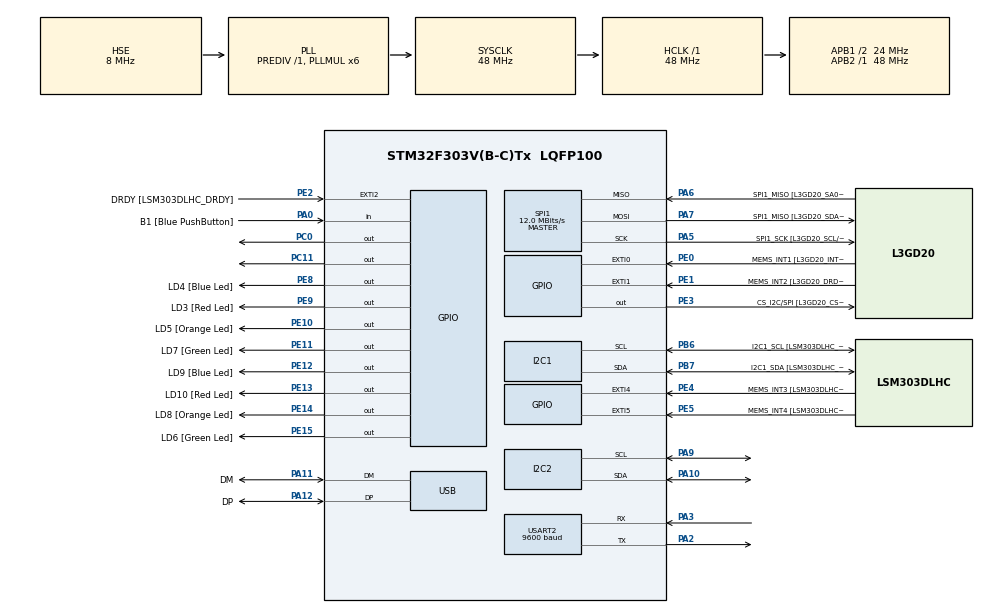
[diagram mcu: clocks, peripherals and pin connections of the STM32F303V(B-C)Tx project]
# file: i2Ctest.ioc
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I2C1.Timing-I2C=0x2000090E
I2C2.I2C_Fall_Time=10
I2C2.I2C_Rise_Time=100
I2C2.Timing=0x00201D2B
Mcu.Family=STM32F3
Mcu.Name=STM32F303V(B-C)Tx
Mcu.Package=LQFP100
NVIC.PriorityGroup=NVIC_PRIORITYGROUP_0
NVIC.USART2_IRQn=true\:0\:0\:false\:false\:true\:true\:true\:true
PA0.GPIO_Label=B1 [Blue PushButton]
PA0.Signal=GPIO_Input
PA10.Mode=I2C
PA10.Signal=I2C2_SDA
PA11.GPIO_Label=DM
PA11.Mode=Device
PA11.Signal=USB_DM
PA12.GPIO_Label=DP
PA12.Mode=Device
PA12.Signal=USB_DP
PA13.GPIO_Label=SWDIO
PA13.Mode=Serial_Wire
PA13.Signal=SYS_JTMS-SWDIO
PA14.GPIO_Label=SWCLK
PA14.Mode=Serial_Wire
PA14.Signal=SYS_JTCK-SWCLK
PA2.Mode=Asynchronous
PA2.Signal=USART2_TX
PA3.Mode=Asynchronous
PA3.Signal=USART2_RX
PA5.GPIO_Label=SPI1_SCK [L3GD20_SCL/SPC]
PA5.Mode=Full_Duplex_Master
PA5.Signal=SPI1_SCK
PA6.GPIO_Label=SPI1_MISO [L3GD20_SA0/SDO]
PA6.Mode=Full_Duplex_Master
PA6.Signal=SPI1_MISO
PA7.GPIO_Label=SPI1_MISO [L3GD20_SDA/SDI/SDO]
PA7.Mode=Full_Duplex_Master
PA7.Signal=SPI1_MOSI
PA9.Mode=I2C
PA9.Signal=I2C2_SCL
PB3.GPIO_Label=SWO
PB3.Signal=SYS_JTDO-TRACESWO
PB6.GPIO_Label=I2C1_SCL [LSM303DLHC_SCL]
PB6.GPIO_Pu=GPIO_PULLUP
PB6.Mode=I2C
PB6.Signal=I2C1_SCL
PB7.GPIO_Label=I2C1_SDA [LSM303DLHC_SDA]
PB7.GPIO_Pu=GPIO_PULLUP
PB7.Mode=I2C
PB7.Signal=I2C1_SDA
PC0.Signal=GPIO_Output
PC11.Signal=GPIO_Output
PC14-OSC32_IN.GPIO_Label=OSC32_IN
PC14-OSC32_IN.Signal=RCC_OSC32_IN
PC15-OSC32_OUT.GPIO_Label=OSC32_OUT
PC15-OSC32_OUT.Signal=RCC_OSC32_OUT
PE0.GPIO_Label=MEMS_INT1 [L3GD20_INT1]
PE0.GPIO_ModeDefaultEXTI=GPIO_MODE_EVT_RISING
PE0.Signal=GPXTI0
PE1.GPIO_Label=MEMS_INT2 [L3GD20_DRDY/INT2]
PE1.GPIO_ModeDefaultEXTI=GPIO_MODE_EVT_RISING
PE1.Signal=GPXTI1
PE10.GPIO_Label=LD5 [Orange Led]
PE10.Signal=GPIO_Output
PE11.GPIO_Label=LD7 [Green Led]
PE11.Signal=GPIO_Output
PE12.GPIO_Label=LD9 [Blue Led]
PE12.Signal=GPIO_Output
PE13.GPIO_Label=LD10 [Red Led]
PE13.Signal=GPIO_Output
PE14.GPIO_Label=LD8 [Orange Led]
PE14.Signal=GPIO_Output
PE15.GPIO_Label=LD6 [Green Led]
PE15.Signal=GPIO_Output
PE2.GPIO_Label=DRDY [LSM303DLHC_DRDY]
PE2.GPIO_ModeDefaultEXTI=GPIO_MODE_EVT_RISING
PE2.Signal=GPXTI2
PE3.GPIO_Label=CS_I2C/SPI [L3GD20_CS_I2C/SPI]
PE3.Signal=GPIO_Output
PE4.GPIO_Label=MEMS_INT3 [LSM303DLHC_INT1]
PE4.GPIO_ModeDefaultEXTI=GPIO_MODE_EVT_RISING
PE4.Signal=GPXTI4
PE5.GPIO_Label=MEMS_INT4 [LSM303DLHC_INT2]
PE5.GPIO_ModeDefaultEXTI=GPIO_MODE_EVT_RISING
PE5.Signal=GPXTI5
PE8.GPIO_Label=LD4 [Blue Led]
PE8.Signal=GPIO_Output
PE9.GPIO_Label=LD3 [Red Led]
PE9.Signal=GPIO_Output
PF0-OSC_IN.GPIO_Label=OSC_IN
PF0-OSC_IN.Mode=HSE-External-Clock-Source
PF0-OSC_IN.Signal=RCC_OSC_IN
PF1-OSC_OUT.GPIO_Label=OSC_OUT
PF1-OSC_OUT.Signal=RCC_OSC_OUT
ProjectManager.HeapSize=0x200
ProjectManager.StackSize=0x400
ProjectManager.TargetToolchain=STM32CubeIDE
RCC.AHBFreq_Value=48000000
RCC.APB1CLKDivider=RCC_HCLK_DIV2
RCC.APB1Freq_Value=24000000
RCC.APB1TimFreq_Value=48000000
RCC.APB2Freq_Value=48000000
RCC.APB2TimFreq_Value=48000000
RCC.CortexFreq_Value=48000000
RCC.HCLKFreq_Value=48000000
RCC.HSE_VALUE=8000000
RCC.HSI_VALUE=8000000
RCC.LSE_VALUE=32768
RCC.PLLMUL=RCC_PLL_MUL6
RCC.SYSCLKFreq_VALUE=48000000
RCC.SYSCLKSourceVirtual=RCC_SYSCLKSOURCE_PLLCLK
RCC.USBFreq_Value=48000000
SPI1.BaudRatePrescaler=SPI_BAUDRATEPRESCALER_4
SPI1.BaudRatePrescaler-Full_Duplex_Master=SPI_BAUDRATEPRESCALER_2
SPI1.CalculateBaudRate=12.0 MBits/s
SPI1.CalculateBaudRate-Full_Duplex_Master=24.0 MBits/s
SPI1.Direction=SPI_DIRECTION_2LINES
SPI1.Mode=SPI_MODE_MASTER
SPI1.Mode-Full_Duplex_Master=SPI_MODE_MASTER
SPI1.VirtualType=VM_MASTER
USART2.BaudRate=9600
USART2.VirtualMode-Asynchronous=VM_ASYNC
board=STM32F3DISCOVERY

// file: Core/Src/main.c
/* USER CODE BEGIN Header */
/**
  ******************************************************************************
  * @file           : main.c
  * @brief          : Main program body
  ******************************************************************************
  * @attention
  *
  * Copyright (c) 2026 STMicroelectronics.
  * All rights reserved.
  *
  * This software is licensed under terms that can be found in the LICENSE file
  * in the root directory of this software component.
  * If no LICENSE file comes with this software, it is provided AS-IS.
  *
  ******************************************************************************
  */
/* USER CODE END Header */
#include "main.h"

/* USER CODE BEGIN Includes */
#include "stm32f3xx_hal.h"
#include <stdio.h>
#include <string.h>
#include "bq25798.h"
#include "charger_manager.h"

/* USER CODE END Includes */

I2C_HandleTypeDef hi2c1;
I2C_HandleTypeDef hi2c2;

SPI_HandleTypeDef hspi1;

UART_HandleTypeDef huart2;

PCD_HandleTypeDef hpcd_USB_FS;

void SystemClock_Config(void);
static void MX_GPIO_Init(void);
static void MX_I2C1_Init(void);
static void MX_SPI1_Init(void);
static void MX_USB_PCD_Init(void);
static void MX_USART2_UART_Init(void);
static void MX_I2C2_Init(void);

int main(void)
{

  /* MCU Configuration--------------------------------------------------------*/

  /* Reset of all peripherals, Initializes the Flash interface and the Systick. */
  HAL_Init();

  /* Configure the system clock */
  SystemClock_Config();

  /* Initialize all configured peripherals */
  MX_GPIO_Init();
  MX_I2C1_Init();
  MX_SPI1_Init();
  MX_USB_PCD_Init();
  MX_USART2_UART_Init();
  MX_I2C2_Init();
  /* USER CODE BEGIN 2 */
#define BQ25798_ADDR  (0x6B << 1)
#define BQ76920_ADDR  (0x18 << 1)

  uint8_t powerdown = 0x00;
  HAL_I2C_Mem_Write(&hi2c2, (0x19 << 1), 0x20, I2C_MEMADD_SIZE_8BIT, &powerdown, 1, 100);
  HAL_I2C_Mem_Write(&hi2c2, (0x1E << 1), 0x20, I2C_MEMADD_SIZE_8BIT, &powerdown, 1, 100);
  HAL_Delay(10);

HAL_Delay(500);
printf("\r\n=== EPS I2C BRING-UP ===\r\n\r\n");

// --- TS1 boot pulse to wake BQ76920 ---
printf("Sending TS1 boot pulse on PC0...\r\n");
HAL_GPIO_WritePin(GPIOC, GPIO_PIN_0, GPIO_PIN_SET);
HAL_Delay(50);
HAL_GPIO_WritePin(GPIOC, GPIO_PIN_0, GPIO_PIN_RESET);
HAL_Delay(100);
printf("Boot pulse done.\r\n");

// --- Probe BQ25798 ---
if (HAL_I2C_IsDeviceReady(&hi2c2, BQ25798_ADDR, 3, 100) == HAL_OK)
    printf("[OK]   BQ25798 found at 0x6B\r\n");
else
    printf("[FAIL] BQ25798 not found\r\n");

// --- Probe BQ76920 ---
if (HAL_I2C_IsDeviceReady(&hi2c2, BQ76920_ADDR, 3, 100) == HAL_OK)
    printf("[OK]   BQ76920 found at 0x08\r\n");
else
    printf("[FAIL] BQ76920 not found — check TS1 wire on PC0\r\n");

// --- Read BQ25798 PART_INFO (reg 0x48, expect 0x98) ---
uint8_t part_info = 0;
if (HAL_I2C_Mem_Read(&hi2c2, BQ25798_ADDR, 0x48,
                      I2C_MEMADD_SIZE_8BIT, &part_info, 1, 100) == HAL_OK)
    printf("BQ25798 PART_INFO = 0x%02X (expect 0x98)\r\n", part_info);
else
    printf("BQ25798 PART_INFO read failed\r\n");

// --- Read BQ76920 SYS_STAT (reg 0x00) ---
uint8_t sys_stat = 0;
if (HAL_I2C_Mem_Read(&hi2c2, BQ76920_ADDR, 0x00,
                      I2C_MEMADD_SIZE_8BIT, &sys_stat, 1, 100) == HAL_OK)
    printf("BQ76920 SYS_STAT = 0x%02X\r\n", sys_stat);
else
    printf("BQ76920 SYS_STAT read failed\r\n");

// --- Full I2C bus scan ---
printf("\r\nScanning I2C bus...\r\n");
for (uint8_t addr = 1; addr < 128; addr++)
{
    if (HAL_I2C_IsDeviceReady(&hi2c2, addr << 1, 1, 10) == HAL_OK)
        printf("  Device found at 0x%02X\r\n", addr);
}
printf("Scan complete\r\n");
printf("\r\n=== DONE ===\r\n");

uint8_t part = 0;
HAL_StatusTypeDef status = HAL_I2C_Mem_Read(
    &hi2c2,
    (0x6B << 1),
    0x48,
    I2C_MEMADD_SIZE_8BIT,
    &part,
    1,
    100
);
printf("PART_INFO status=%d value=0x%02X\r\n", status, part);
if (ChargerManager_Init())
    printf("[OK] Charger configured\r\n");
else
    printf("[FAIL] Charger init failed\r\n");

// Enable ADC continuous mode (REG2E)
uint8_t adc_cfg = 0xC0;  // bit7=ADC_EN, bit6=continuous
BQ25798_Write8(BQ25798_REG_ADC_CONTROL, adc_cfg);

// Enable IBAT ADC measurement (REG15 bit5)
uint8_t reg15 = 0;
BQ25798_Read8(0x15, &reg15);
reg15 |= (1 << 5);
BQ25798_Write8(0x15, reg15);

HAL_Delay(500);

  /* USER CODE END 2 */

  /* Infinite loop */
  while (1)
  {

    /* USER CODE BEGIN 3 */
	  BQ25798_Telemetry telem = {0};

	      if (BQ25798_ReadTelemetry(&telem))
	      {
	    	  printf("VBUS=%d.%02dV  VBAT=%d.%02dV  VSYS=%d.%02dV\r\n",
	    	         (int)telem.vbus_v, (int)(telem.vbus_v * 100) % 100,
	    	         (int)telem.vbat_v, (int)(telem.vbat_v * 100) % 100,
	    	         (int)telem.vsys_v, (int)(telem.vsys_v * 100) % 100);
	          printf("IBUS=%.3fA  IBAT=%.3fA  TDIE=%.1fC\r\n",
	                 telem.ibus_a, telem.ibat_a, telem.die_temp_c);
	          printf("PG=%s  STAT0=0x%02X  STAT1=0x%02X\r\n",
	                 (telem.charger_status_0 & 0x08) ? "OK" : "FAIL",
	                 telem.charger_status_0,
	                 telem.charger_status_1);

	      }
	      else
	      {
	          printf("[FAIL] Telemetry read failed\r\n");
	      }

	      printf("---\r\n");

	      // Try both known BQ76920 I2C addresses
	      uint8_t bms_addr = 0;

	      if (HAL_I2C_IsDeviceReady(&hi2c2, (0x08 << 1), 3, 100) == HAL_OK)
	      {
	          printf("[OK] BQ76920 found at 0x08\r\n");
	          bms_addr = 0x08;
	      }
	      else if (HAL_I2C_IsDeviceReady(&hi2c2, (0x18 << 1), 3, 100) == HAL_OK)
	      {
	          printf("[OK] BQ76920 found at 0x18\r\n");
	          bms_addr = 0x18;
	      }
	      else
	      {
	          printf("[FAIL] BQ76920 not found at either 0x08 or 0x18\r\n");
	          printf("       Check: battery connected? REGOUT voltage present? TS1 boot pulse voltage?\r\n");
	      }
	      HAL_Delay(2000);

  }
  /* USER CODE END 3 */
}

void SystemClock_Config(void)
{
  RCC_OscInitTypeDef RCC_OscInitStruct = {0};
  RCC_ClkInitTypeDef RCC_ClkInitStruct = {0};
  RCC_PeriphCLKInitTypeDef PeriphClkInit = {0};

  /** Initializes the RCC Oscillators according to the specified parameters
  * in the RCC_OscInitTypeDef structure.
  */
  RCC_OscInitStruct.OscillatorType = RCC_OSCILLATORTYPE_HSI|RCC_OSCILLATORTYPE_HSE;
  RCC_OscInitStruct.HSEState = RCC_HSE_BYPASS;
  RCC_OscInitStruct.HSEPredivValue = RCC_HSE_PREDIV_DIV1;
  RCC_OscInitStruct.HSIState = RCC_HSI_ON;
  RCC_OscInitStruct.HSICalibrationValue = RCC_HSICALIBRATION_DEFAULT;
  RCC_OscInitStruct.PLL.PLLState = RCC_PLL_ON;
  RCC_OscInitStruct.PLL.PLLSource = RCC_PLLSOURCE_HSE;
  RCC_OscInitStruct.PLL.PLLMUL = RCC_PLL_MUL6;
  if (HAL_RCC_OscConfig(&RCC_OscInitStruct) != HAL_OK)
  {
    Error_Handler();
  }

  /** Initializes the CPU, AHB and APB buses clocks
  */
  RCC_ClkInitStruct.ClockType = RCC_CLOCKTYPE_HCLK|RCC_CLOCKTYPE_SYSCLK
                              |RCC_CLOCKTYPE_PCLK1|RCC_CLOCKTYPE_PCLK2;
  RCC_ClkInitStruct.SYSCLKSource = RCC_SYSCLKSOURCE_PLLCLK;
  RCC_ClkInitStruct.AHBCLKDivider = RCC_SYSCLK_DIV1;
  RCC_ClkInitStruct.APB1CLKDivider = RCC_HCLK_DIV2;
  RCC_ClkInitStruct.APB2CLKDivider = RCC_HCLK_DIV1;

  if (HAL_RCC_ClockConfig(&RCC_ClkInitStruct, FLASH_LATENCY_1) != HAL_OK)
  {
    Error_Handler();
  }
  PeriphClkInit.PeriphClockSelection = RCC_PERIPHCLK_USB|RCC_PERIPHCLK_USART2
                              |RCC_PERIPHCLK_I2C1|RCC_PERIPHCLK_I2C2;
  PeriphClkInit.Usart2ClockSelection = RCC_USART2CLKSOURCE_PCLK1;
  PeriphClkInit.I2c1ClockSelection = RCC_I2C1CLKSOURCE_HSI;
  PeriphClkInit.I2c2ClockSelection = RCC_I2C2CLKSOURCE_HSI;
  PeriphClkInit.USBClockSelection = RCC_USBCLKSOURCE_PLL;
  if (HAL_RCCEx_PeriphCLKConfig(&PeriphClkInit) != HAL_OK)
  {
    Error_Handler();
  }
}

static void MX_I2C1_Init(void)
{

  hi2c1.Instance = I2C1;
  hi2c1.Init.Timing = 0x2000090E;
  hi2c1.Init.OwnAddress1 = 0;
  hi2c1.Init.AddressingMode = I2C_ADDRESSINGMODE_7BIT;
  hi2c1.Init.DualAddressMode = I2C_DUALADDRESS_DISABLE;
  hi2c1.Init.OwnAddress2 = 0;
  hi2c1.Init.OwnAddress2Masks = I2C_OA2_NOMASK;
  hi2c1.Init.GeneralCallMode = I2C_GENERALCALL_DISABLE;
  hi2c1.Init.NoStretchMode = I2C_NOSTRETCH_DISABLE;
  if (HAL_I2C_Init(&hi2c1) != HAL_OK)
  {
    Error_Handler();
  }

  /** Configure Analogue filter
  */
  if (HAL_I2CEx_ConfigAnalogFilter(&hi2c1, I2C_ANALOGFILTER_ENABLE) != HAL_OK)
  {
    Error_Handler();
  }

  /** Configure Digital filter
  */
  if (HAL_I2CEx_ConfigDigitalFilter(&hi2c1, 0) != HAL_OK)
  {
    Error_Handler();
  }

}

static void MX_I2C2_Init(void)
{

  hi2c2.Instance = I2C2;
  hi2c2.Init.Timing = 0x00201D2B;
  hi2c2.Init.OwnAddress1 = 0;
  hi2c2.Init.AddressingMode = I2C_ADDRESSINGMODE_7BIT;
  hi2c2.Init.DualAddressMode = I2C_DUALADDRESS_DISABLE;
  hi2c2.Init.OwnAddress2 = 0;
  hi2c2.Init.OwnAddress2Masks = I2C_OA2_NOMASK;
  hi2c2.Init.GeneralCallMode = I2C_GENERALCALL_DISABLE;
  hi2c2.Init.NoStretchMode = I2C_NOSTRETCH_DISABLE;
  GPIO_InitTypeDef GPIO_InitStruct = {0};

  __HAL_RCC_GPIOA_CLK_ENABLE();

  GPIO_InitStruct.Pin = GPIO_PIN_9 | GPIO_PIN_10;
  GPIO_InitStruct.Mode = GPIO_MODE_AF_OD;
  GPIO_InitStruct.Pull = GPIO_PULLUP;
  GPIO_InitStruct.Speed = GPIO_SPEED_FREQ_HIGH;
  GPIO_InitStruct.Alternate = GPIO_AF4_I2C2;
  HAL_GPIO_Init(GPIOA, &GPIO_InitStruct);
  if (HAL_I2C_Init(&hi2c2) != HAL_OK)
  {
    Error_Handler();
  }

  /** Configure Analogue filter
  */
  if (HAL_I2CEx_ConfigAnalogFilter(&hi2c2, I2C_ANALOGFILTER_ENABLE) != HAL_OK)
  {
    Error_Handler();
  }

  /** Configure Digital filter
  */
  if (HAL_I2CEx_ConfigDigitalFilter(&hi2c2, 0) != HAL_OK)
  {
    Error_Handler();
  }

}

static void MX_SPI1_Init(void)
{

  /* SPI1 parameter configuration*/
  hspi1.Instance = SPI1;
  hspi1.Init.Mode = SPI_MODE_MASTER;
  hspi1.Init.Direction = SPI_DIRECTION_2LINES;
  hspi1.Init.DataSize = SPI_DATASIZE_4BIT;
  hspi1.Init.CLKPolarity = SPI_POLARITY_LOW;
  hspi1.Init.CLKPhase = SPI_PHASE_1EDGE;
  hspi1.Init.NSS = SPI_NSS_SOFT;
  hspi1.Init.BaudRatePrescaler = SPI_BAUDRATEPRESCALER_4;
  hspi1.Init.FirstBit = SPI_FIRSTBIT_MSB;
  hspi1.Init.TIMode = SPI_TIMODE_DISABLE;
  hspi1.Init.CRCCalculation = SPI_CRCCALCULATION_DISABLE;
  hspi1.Init.CRCPolynomial = 7;
  hspi1.Init.CRCLength = SPI_CRC_LENGTH_DATASIZE;
  hspi1.Init.NSSPMode = SPI_NSS_PULSE_ENABLE;
  if (HAL_SPI_Init(&hspi1) != HAL_OK)
  {
    Error_Handler();
  }

}

static void MX_USART2_UART_Init(void)
{

  huart2.Instance = USART2;
  huart2.Init.BaudRate = 9600;
  huart2.Init.WordLength = UART_WORDLENGTH_8B;
  huart2.Init.StopBits = UART_STOPBITS_1;
  huart2.Init.Parity = UART_PARITY_NONE;
  huart2.Init.Mode = UART_MODE_TX_RX;
  huart2.Init.HwFlowCtl = UART_HWCONTROL_NONE;
  huart2.Init.OverSampling = UART_OVERSAMPLING_16;
  huart2.Init.OneBitSampling = UART_ONE_BIT_SAMPLE_DISABLE;
  huart2.AdvancedInit.AdvFeatureInit = UART_ADVFEATURE_NO_INIT;
  if (HAL_UART_Init(&huart2) != HAL_OK)
  {
    Error_Handler();
  }

}

static void MX_USB_PCD_Init(void)
{

  hpcd_USB_FS.Instance = USB;
  hpcd_USB_FS.Init.dev_endpoints = 8;
  hpcd_USB_FS.Init.speed = PCD_SPEED_FULL;
  hpcd_USB_FS.Init.phy_itface = PCD_PHY_EMBEDDED;
  hpcd_USB_FS.Init.low_power_enable = DISABLE;
  hpcd_USB_FS.Init.battery_charging_enable = DISABLE;
  if (HAL_PCD_Init(&hpcd_USB_FS) != HAL_OK)
  {
    Error_Handler();
  }

}

static void MX_GPIO_Init(void)
{
  GPIO_InitTypeDef GPIO_InitStruct = {0};

  /* GPIO Ports Clock Enable */
  __HAL_RCC_GPIOE_CLK_ENABLE();
  __HAL_RCC_GPIOC_CLK_ENABLE();
  __HAL_RCC_GPIOF_CLK_ENABLE();
  __HAL_RCC_GPIOA_CLK_ENABLE();
  __HAL_RCC_GPIOB_CLK_ENABLE();

  /*Configure GPIO pin Output Level */
  HAL_GPIO_WritePin(GPIOE, CS_I2C_SPI_Pin|LD4_Pin|LD3_Pin|LD5_Pin
                          |LD7_Pin|LD9_Pin|LD10_Pin|LD8_Pin
                          |LD6_Pin, GPIO_PIN_RESET);

  /*Configure GPIO pin Output Level */
  HAL_GPIO_WritePin(GPIOC, GPIO_PIN_0|GPIO_PIN_11, GPIO_PIN_RESET);

  /*Configure GPIO pins : DRDY_Pin MEMS_INT3_Pin MEMS_INT4_Pin MEMS_INT1_Pin
                           MEMS_INT2_Pin */
  GPIO_InitStruct.Pin = DRDY_Pin|MEMS_INT3_Pin|MEMS_INT4_Pin|MEMS_INT1_Pin
                          |MEMS_INT2_Pin;
  GPIO_InitStruct.Mode = GPIO_MODE_EVT_RISING;
  GPIO_InitStruct.Pull = GPIO_NOPULL;
  HAL_GPIO_Init(GPIOE, &GPIO_InitStruct);

  /*Configure GPIO pins : CS_I2C_SPI_Pin LD4_Pin LD3_Pin LD5_Pin
                           LD7_Pin LD9_Pin LD10_Pin LD8_Pin
                           LD6_Pin */
  GPIO_InitStruct.Pin = CS_I2C_SPI_Pin|LD4_Pin|LD3_Pin|LD5_Pin
                          |LD7_Pin|LD9_Pin|LD10_Pin|LD8_Pin
                          |LD6_Pin;
  GPIO_InitStruct.Mode = GPIO_MODE_OUTPUT_PP;
  GPIO_InitStruct.Pull = GPIO_NOPULL;
  GPIO_InitStruct.Speed = GPIO_SPEED_FREQ_LOW;
  HAL_GPIO_Init(GPIOE, &GPIO_InitStruct);

  /*Configure GPIO pins : PC0 PC11 */
  GPIO_InitStruct.Pin = GPIO_PIN_0|GPIO_PIN_11;
  GPIO_InitStruct.Mode = GPIO_MODE_OUTPUT_PP;
  GPIO_InitStruct.Pull = GPIO_NOPULL;
  GPIO_InitStruct.Speed = GPIO_SPEED_FREQ_LOW;
  HAL_GPIO_Init(GPIOC, &GPIO_InitStruct);

  /*Configure GPIO pin : B1_Pin */
  GPIO_InitStruct.Pin = B1_Pin;
  GPIO_InitStruct.Mode = GPIO_MODE_INPUT;
  GPIO_InitStruct.Pull = GPIO_NOPULL;
  HAL_GPIO_Init(B1_GPIO_Port, &GPIO_InitStruct);

}

/* USER CODE BEGIN 4 */
int __io_putchar(int ch)
{
    HAL_UART_Transmit(&huart2, (uint8_t *)&ch, 1, 100);
    return ch;
}
/* USER CODE END 4 */

void Error_Handler(void)
{
  __disable_irq();
  while (1)
  {
  }
}
